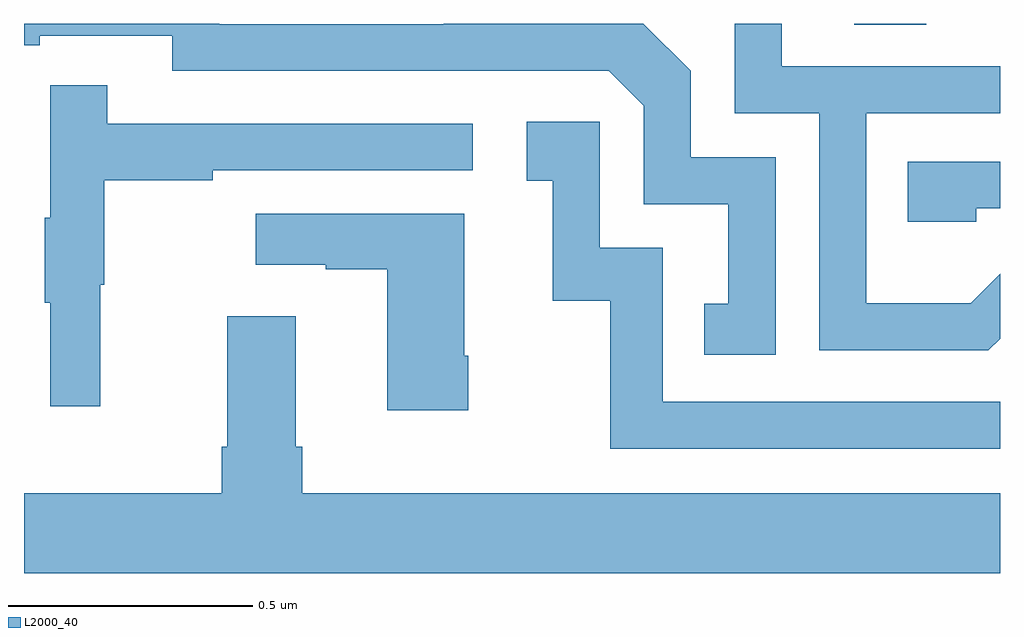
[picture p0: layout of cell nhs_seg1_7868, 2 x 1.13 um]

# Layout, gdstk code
import gdstk
lib = gdstk.Library(unit=1e-6, precision=1e-09)
def R(c, l, rs):  # rectangles x0, y0, x1, y1
    for r in rs: c.add(gdstk.rectangle(r[:2], r[2:], *l))
def P(c, l, *ps):  # polygons
    for p in ps: c.add(gdstk.Polygon(p, *l))
L2000_40 = (2000, 40)

nhs_seg1_7868 = lib.new_cell('nhs_seg1_7868')
R(nhs_seg1_7868, L2000_40, [(210.701,546.196,210.849,546.199)])
P(nhs_seg1_7868, L2000_40, [(210.54,545.925),(210.366,545.925),(210.366,546.102),(210.269,546.199),(209.86,546.199),(209.86,546.198),(209.4,546.198),(209.4,546.199),(209,546.199),(209,546.154),(209.032,546.154),(209.032,546.174),(209.304,546.174),(209.304,546.102),(210.198,546.102),(210.27,546.03),(210.27,545.829),(210.443,545.829),(210.443,545.625),(210.394,545.625),(210.394,545.52),(210.54,545.52)],
  [(211,545.553),(211,545.686),(210.94,545.626),(210.726,545.626),(210.726,546.015),(211,546.015),(211,546.111),(210.553,546.111),(210.553,546.199),(210.456,546.199),(210.456,546.015),(210.63,546.015),(210.63,545.529),(210.976,545.529)],
  [(209.156,545.664),(209.164,545.664),(209.164,545.878),(209.387,545.878),(209.387,545.898),(209.92,545.898),(209.92,545.994),(209.171,545.994),(209.171,546.073),(209.054,546.073),(209.054,545.801),(209.043,545.801),(209.043,545.627),(209.054,545.627),(209.054,545.415),(209.156,545.415)],
  [(211,545.424),(210.309,545.424),(210.309,545.739),(210.18,545.739),(210.18,545.998),(210.03,545.998),(210.03,545.877),(210.083,545.877),(210.083,545.631),(210.201,545.631),(210.201,545.328),(211,545.328)],
  [(210.951,545.82),(211,545.82),(211,545.916),(210.811,545.916),(210.811,545.793),(210.951,545.793)],
  [(209.91,545.518),(209.902,545.518),(209.902,545.809),(209.475,545.809),(209.475,545.705),(209.618,545.705),(209.618,545.695),(209.744,545.695),(209.744,545.406),(209.91,545.406)],
  [(211,545.236),(209.57,545.236),(209.57,545.332),(209.557,545.332),(209.557,545.599),(209.417,545.599),(209.417,545.332),(209.405,545.332),(209.405,545.236),(209,545.236),(209,545.072),(211,545.072)])

lib.write_gds('nhs_seg1_7868.gds')
